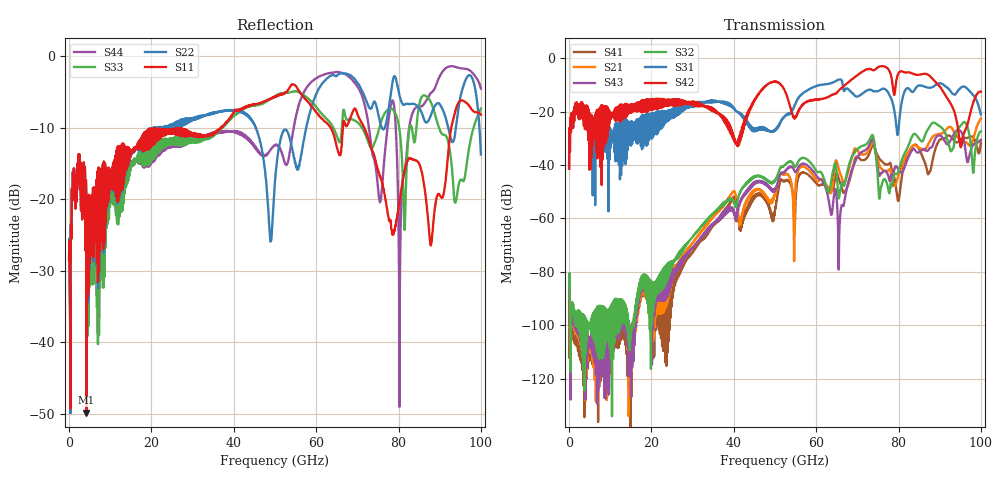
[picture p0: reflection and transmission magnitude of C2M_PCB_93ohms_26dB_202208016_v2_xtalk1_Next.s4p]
! Info: Touchstone file created by Circ.  Input file=Intel_C2M_200G_11p0in_202208016_staggered.circ
# Hz S RI R 50
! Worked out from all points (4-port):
!   10000 points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, 10 MHz to 100 GHz, reference 50 ohm
!   strongest paths, dB at 10 MHz, 25.01 GHz, 50.01 GHz, 75.01 GHz, 100 GHz:
!     S42: -41.3, -16.9, -8.7, -3.4, -12.5
!     S31: -41.4, -21.4, -27.0, -12.3, -21.1
!     S32: -85.5, -77.8, -45.6, -45.5, -27.4
!     S43: -86.7, -81.8, -49.4, -41.5, -30.5
!     S21: -87.1, -80.3, -50.3, -38.3, -22.6
!     S41: -89.4, -81.6, -56.7, -36.6, -31.6
!   lowest |S11| = -49.8 dB at 4.23 GHz (marker M1), VSWR 1.01, Z = 50.3 - j0.0581 ohm
!   |S11| at or under -10 dB: start of sweep to 36.88 GHz; 63.54 GHz to 66.47 GHz (2.929 GHz wide, 4.51 % of centre); 71.67 GHz to 92.82 GHz (21.15 GHz wide, 25.7 % of centre)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
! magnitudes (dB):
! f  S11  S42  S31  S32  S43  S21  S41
! 10 MHz  -28.4  -41.3  -41.4  -85.5  -86.7  -87.1  -89.4
! 4.23 GHz  -49.8  -17.7  -19.4  -101.5  -107.8  -107.4  -112.1
! 40.83 GHz  -7.5  -32.2  -20.1  -53.9  -58.7  -55.4  -56.5
! 73.49 GHz  -13.1  -4.2  -11.9  -28.9  -30.5  -31.6  -33.1
! 76.15 GHz  -17.9  -3.0  -11.4  -46.1  -42.5  -41.9  -38.9
! 95.19 GHz  -6.2  -33.2  -10.9  -25.0  -27.5  -31.0  -30.2
! 100 GHz  -8.2  -12.5  -21.1  -27.4  -30.5  -22.6  -31.6
